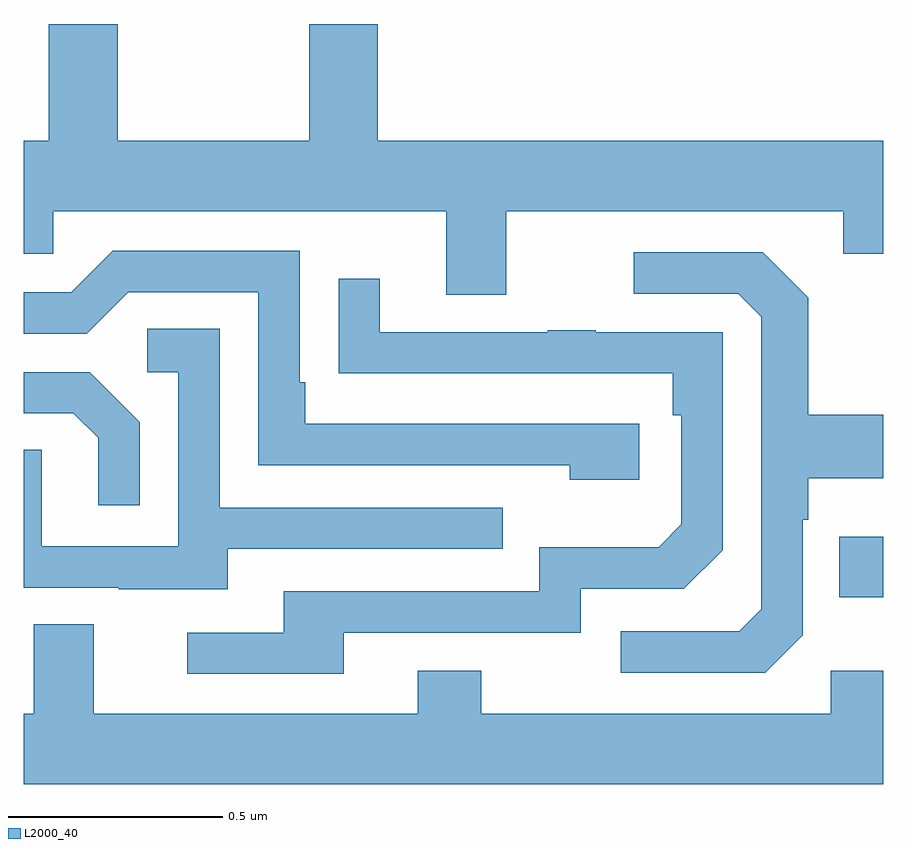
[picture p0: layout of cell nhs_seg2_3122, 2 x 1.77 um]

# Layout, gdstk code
import gdstk
lib = gdstk.Library(unit=1e-6, precision=1e-09)
def R(c, l, rs):  # rectangles x0, y0, x1, y1
    for r in rs: c.add(gdstk.rectangle(r[:2], r[2:], *l))
def P(c, l, *ps):  # polygons
    for p in ps: c.add(gdstk.Polygon(p, *l))
L2000_40 = (2000, 40)

nhs_seg2_3122 = lib.new_cell('nhs_seg2_3122')
R(nhs_seg2_3122, L2000_40, [(151.897,585.467,152,585.607)])
P(nhs_seg2_3122, L2000_40, [(151.123,586.364),(151.907,586.364),(151.907,586.265),(152,586.265),(152,586.528),(150.824,586.528),(150.824,586.8),(150.664,586.8),(150.664,586.528),(150.219,586.528),(150.219,586.8),(150.059,586.8),(150.059,586.528),(150,586.528),(150,586.266),(150.069,586.266),(150.069,586.364),(150.983,586.364),(150.983,586.17),(151.123,586.17)],
  [(151.432,585.87),(150.655,585.87),(150.655,585.967),(150.642,585.967),(150.642,586.272),(150.207,586.272),(150.111,586.176),(150,586.176),(150,586.08),(150.147,586.08),(150.243,586.176),(150.546,586.176),(150.546,585.774),(151.271,585.774),(151.271,585.74),(151.432,585.74)],
  [(151.812,585.378),(151.812,585.647),(151.825,585.647),(151.825,585.743),(152,585.743),(152,585.891),(151.825,585.891),(151.825,586.163),(151.719,586.269),(151.419,586.269),(151.419,586.173),(151.662,586.173),(151.716,586.119),(151.716,585.438),(151.665,585.387),(151.389,585.387),(151.389,585.291),(151.725,585.291)],
  [(150.745,585.384),(151.296,585.384),(151.296,585.486),(151.536,585.486),(151.626,585.576),(151.626,586.083),(151.331,586.083),(151.331,586.088),(151.219,586.088),(151.219,586.083),(150.829,586.083),(150.829,586.207),(150.733,586.207),(150.733,585.988),(150.835,585.988),(150.835,585.987),(151.51,585.987),(151.51,585.89),(151.53,585.89),(151.53,585.636),(151.477,585.583),(151.2,585.583),(151.2,585.48),(150.605,585.48),(150.605,585.384),(150.381,585.384),(150.381,585.288),(150.745,585.288)],
  [(150.475,585.579),(151.115,585.579),(151.115,585.675),(150.456,585.675),(150.456,586.091),(150.288,586.091),(150.288,585.99),(150.36,585.99),(150.36,585.585),(150.042,585.585),(150.042,585.809),(150,585.809),(150,585.489),(150.221,585.489),(150.221,585.485),(150.475,585.485)],
  [(150.27,585.874),(150.154,585.99),(150,585.99),(150,585.894),(150.116,585.894),(150.173,585.837),(150.173,585.681),(150.27,585.681)],
  [(152,585.295),(151.878,585.295),(151.878,585.196),(151.065,585.196),(151.065,585.295),(150.917,585.295),(150.917,585.196),(150.163,585.196),(150.163,585.404),(150.023,585.404),(150.023,585.196),(150,585.196),(150,585.032),(152,585.032)])

lib.write_gds('nhs_seg2_3122.gds')
